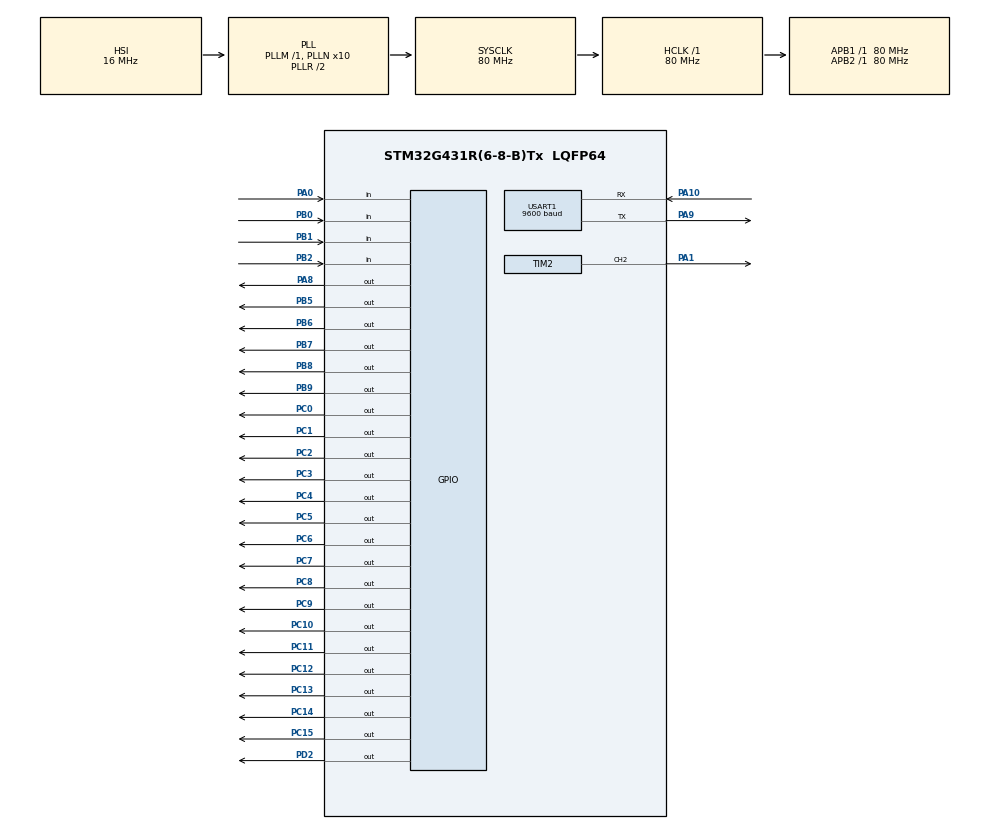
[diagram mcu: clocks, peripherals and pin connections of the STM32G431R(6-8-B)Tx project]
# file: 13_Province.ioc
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Mcu.Family=STM32G4
Mcu.Name=STM32G431R(6-8-B)Tx
Mcu.Package=LQFP64
NVIC.PriorityGroup=NVIC_PRIORITYGROUP_4
NVIC.TIM1_UP_TIM16_IRQn=true\:0\:0\:false\:false\:true\:true\:true\:true
NVIC.USART1_IRQn=true\:0\:0\:false\:false\:true\:true\:true\:true
PA0.Signal=GPIO_Input
PA1.Signal=S_TIM2_CH2
PA10.Mode=Asynchronous
PA10.Signal=USART1_RX
PA13.Mode=Serial_Wire
PA13.Signal=SYS_JTMS-SWDIO
PA14.Mode=Serial_Wire
PA14.Signal=SYS_JTCK-SWCLK
PA8.Signal=GPIO_Output
PA9.Mode=Asynchronous
PA9.Signal=USART1_TX
PB0.Signal=GPIO_Input
PB1.Signal=GPIO_Input
PB2.Signal=GPIO_Input
PB5.Signal=GPIO_Output
PB6.Signal=GPIO_Output
PB7.Signal=GPIO_Output
PB8-BOOT0.Signal=GPIO_Output
PB9.Signal=GPIO_Output
PC0.Signal=GPIO_Output
PC1.Signal=GPIO_Output
PC10.Signal=GPIO_Output
PC11.Signal=GPIO_Output
PC12.Signal=GPIO_Output
PC13.Signal=GPIO_Output
PC14-OSC32_IN.Signal=GPIO_Output
PC15-OSC32_OUT.Signal=GPIO_Output
PC2.Signal=GPIO_Output
PC3.Signal=GPIO_Output
PC4.Signal=GPIO_Output
PC5.Signal=GPIO_Output
PC6.Signal=GPIO_Output
PC7.Signal=GPIO_Output
PC8.Signal=GPIO_Output
PC9.Signal=GPIO_Output
PD2.Signal=GPIO_Output
PF0-OSC_IN.Mode=HSE-External-Oscillator
PF0-OSC_IN.Signal=RCC_OSC_IN
PF1-OSC_OUT.Mode=HSE-External-Oscillator
PF1-OSC_OUT.Signal=RCC_OSC_OUT
ProjectManager.HeapSize=0x200
ProjectManager.StackSize=0x400
ProjectManager.TargetToolchain=MDK-ARM V5.32
RCC.ADC12Freq_Value=80000000
RCC.AHBFreq_Value=80000000
RCC.APB1Freq_Value=80000000
RCC.APB1TimFreq_Value=80000000
RCC.APB2Freq_Value=80000000
RCC.APB2TimFreq_Value=80000000
RCC.CortexFreq_Value=80000000
RCC.EXTERNAL_CLOCK_VALUE=12288000
RCC.HCLKFreq_Value=80000000
RCC.HSE_VALUE=8000000
RCC.HSI48_VALUE=48000000
RCC.HSI_VALUE=16000000
RCC.LSE_VALUE=32768
RCC.PLLN=10
RCC.SYSCLKFreq_VALUE=80000000
RCC.SYSCLKSource=RCC_SYSCLKSOURCE_PLLCLK
RCC.USBFreq_Value=80000000
RCC.VCOOutputFreq_Value=160000000
SH.S_TIM2_CH2.0=TIM2_CH2,PWM Generation2 CH2
TIM1.PeriodNoDither=10000-1
TIM1.Prescaler=80-1
TIM2.Channel-PWM\ Generation2\ CH2=TIM_CHANNEL_2
TIM2.PeriodNoDither=100-1
TIM2.Prescaler=400-1
TIM2.PulseNoDither_2=5
USART1.BaudRate=9600
USART1.VirtualMode-Asynchronous=VM_ASYNC
VP_SYS_VS_DBSignals.Mode=DisableDeadBatterySignals
VP_TIM1_VS_ClockSourceINT.Mode=Internal
VP_TIM2_VS_ClockSourceINT.Mode=Internal
board=custom

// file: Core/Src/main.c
/* USER CODE BEGIN Header */
/**
  ******************************************************************************
  * @file           : main.c
  * @brief          : Main program body
  ******************************************************************************
  * @attention
  *
  * Copyright (c) 2024 STMicroelectronics.
  * All rights reserved.
  *
  * This software is licensed under terms that can be found in the LICENSE file
  * in the root directory of this software component.
  * If no LICENSE file comes with this software, it is provided AS-IS.
  *
  ******************************************************************************
  */
/* USER CODE END Header */
#include "main.h"
#include "tim.h"
#include "usart.h"
#include "gpio.h"

/* USER CODE BEGIN Includes */
#include "stdio.h"
#include "string.h"
#include "stdlib.h"
#include "lcd.h"
#include "interrupt.h"
#include "MY_IIC.h"
#include "i2c_hal.h"
/* USER CODE END Includes */

/* USER CODE BEGIN PTD */
extern unsigned char  rx[10];
extern unsigned char RX_Buff;
extern int idx;
extern struct Some_State LED;
extern struct Some_State LED1;
/* USER CODE END PTD */

void SystemClock_Config(void);

/* USER CODE BEGIN 0 */
int Sreen=0;
int Store_num[2]={0,0};
float Store_Price[2]={1.0,1.0};
int Store_all[2]={10,10};
unsigned char Buy[20];
void Key()
{
	if(get_key_stat(0))
	{
		Sreen++;
		Sreen%=3;
	}
	if(Sreen==0)
	{
		if(get_key_stat(1))
		{
			Store_num[0]++;
			if(Store_num[0]>=Store_all[0])
			{
				Store_num[0]=Store_all[0];
			}
		}
		else if(get_key_stat(2))
		{
			Store_num[1]++;
			if(Store_num[1]>=Store_all[1])
			{
				Store_num[1]=Store_all[1];
			}
		}
		else if(get_key_stat(3))
		{
			LED.tim=0;
			LED.sta=1;
			float all_money=Store_num[0]*Store_Price[0]+\
							Store_num[0]*Store_Price[0];
			sprintf((char *)Buy,"X:%d,Y:%d,Z:%.1f",Store_num[0],\
					Store_num[1],all_money);
			HAL_UART_Transmit(&huart1,Buy,strlen(Buy),0xffff);
			Store_all[0]-=Store_num[0];
			Store_all[1]-=Store_num[1];
			x24c02_write(0,Store_all[0]);HAL_Delay(5);
			x24c02_write(1,Store_all[1]);HAL_Delay(5);
			Store_num[0]=Store_num[1]=0;
		}
	}
	else if(Sreen == 1)
	{
		if(get_key_stat(1))
		{
			if(Store_Price[0]>=1.95)
			{
				Store_Price[0]=1.0;
			}
			else
			{
				Store_Price[0]+=0.1;
			}
			x24c02_write(3,(int)(Store_Price[1]*10));
		}
		else if(get_key_stat(2))
		{
			if(Store_Price[1]>=1.95)
			{
				Store_Price[1]=1.0;
			}
			else
			{
				Store_Price[1]+=0.1;
			}
			x24c02_write(3,(int)(Store_Price[1]*10));
		}
	}
	else if(Sreen == 2)
	{
		if(get_key_stat(1))
		{
			Store_all[0]++;
			x24c02_write(0,Store_all[0]);
		}
		else if(get_key_stat(2))
		{
			Store_all[1]++;
			x24c02_write(1,Store_all[1]);
		}
	}
	set_key_stat(0,0);
	set_key_stat(1,0);
	set_key_stat(2,0);
	set_key_stat(3,0);
}
void Usb()
{
	if(idx!=0)
	{
		if(idx==1 && rx[0]=='?')
		{
			sprintf((char *)Buy,"X:%.1f,Y:%.1f",Store_Price[0],Store_Price[1]);
			HAL_UART_Transmit(&huart1,Buy,strlen(Buy),0xffff);
		}
		idx=0;
		memset(rx,0,strlen(rx));
	}
}
void LED_6()
{
	int led=0x00;
	if(LED.sta)
	{
		led|=0x01;
		LED_Disp(led);
		__HAL_TIM_SetCompare(&htim2,TIM_CHANNEL_2,30);
	}
	else if(LED.sta_re)
	{
		led=0x00;
		LED_Disp(led);
		LED.sta_re=0;
		__HAL_TIM_SetCompare(&htim2,TIM_CHANNEL_2,5);
	}

	if(Store_all[0]==0 && Store_all[1]==0)
	{
		LED1.sta=1;
	}
	else
	{
		LED1.tim=0;
		LED1.sta_re=0;
		LED1.sta=0;
		LED_Disp(0x00);
	}
	if(LED1.sta_re)
	{
		led|=0x02;
		LED_Disp(led);
	}
	else
	{
		led|=0x00;
		LED_Disp(led);
	}
}
void Shop()
{
	unsigned char str[20];
	LCD_DisplayStringLine(Line1,(u8 *)"        SHOP   ");
	sprintf((char *)str,"     X:%d   ",Store_num[0]);
	LCD_DisplayStringLine(Line3,str);
	sprintf((char *)str,"     Y:%d   ",Store_num[1]);
	LCD_DisplayStringLine(Line4,str);
}
void Price()
{
	unsigned char str[20];
	LCD_DisplayStringLine(Line1,(u8 *)"        PRICE  ");
	sprintf((char *)str,"     X:%.1f   ",Store_Price[0]);
	LCD_DisplayStringLine(Line3,str);
	sprintf((char *)str,"     Y:%.1f   ",Store_Price[1]);
	LCD_DisplayStringLine(Line4,str);
}
void Rep()
{
	unsigned char str[20];
	LCD_DisplayStringLine(Line1,(u8 *)"        REP   ");
	sprintf((char *)str,"     X:%d     ",Store_all[0]);
	LCD_DisplayStringLine(Line3,str);
	sprintf((char *)str,"     Y:%d     ",Store_all[1]);
	LCD_DisplayStringLine(Line4,str);
}
/* USER CODE END 0 */

int main(void)
{
  /* USER CODE BEGIN 1 */
	int val=0;
  /* USER CODE END 1 */

  /* MCU Configuration--------------------------------------------------------*/

  /* Reset of all peripherals, Initializes the Flash interface and the Systick. */
  HAL_Init();

  /* Configure the system clock */
  SystemClock_Config();

  /* Initialize all configured peripherals */
  MX_GPIO_Init();
  MX_TIM1_Init();
  MX_TIM2_Init();
  MX_USART1_UART_Init();
  /* USER CODE BEGIN 2 */
	I2CInit();
	LCD_Init();
	LCD_Clear(Black);
	LCD_SetTextColor(White);
	LCD_SetBackColor(Black);
	HAL_TIM_Base_Start_IT(&htim1);
	HAL_TIM_PWM_Start(&htim2,TIM_CHANNEL_2);
	HAL_UART_Receive_IT(&huart1,&RX_Buff,1);
	LED_Disp(0x00);
	val=x24c02_read(5);HAL_Delay(5);
	x24c02_write(5,++val);HAL_Delay(5);
	if(val==1)
	{
		x24c02_write(0,Store_all[0]);HAL_Delay(5);
		x24c02_write(1,Store_all[1]);HAL_Delay(5);
		x24c02_write(2,(int)(Store_Price[0]*10));HAL_Delay(5);
		x24c02_write(3,(int)(Store_Price[1]*10));HAL_Delay(5);
	}
	Store_all[0]=x24c02_read(0);HAL_Delay(5);
	Store_all[1]=x24c02_read(1);HAL_Delay(5);
	Store_Price[0]=x24c02_read(2)/10;HAL_Delay(5);
	Store_Price[1]=x24c02_read(3)/10;HAL_Delay(5);
  /* USER CODE END 2 */

  /* Infinite loop */
  while (1)
  {

    /* USER CODE BEGIN 3 */
	  LED_6();
	  Usb();
	  Key();
	  switch(Sreen)
	  {
		  case 0:
			  Shop();break;
		  case 1:
			  Price();break;
		  case 2:
			  Rep();break;
	  }

  }
  /* USER CODE END 3 */
}

void SystemClock_Config(void)
{
  RCC_OscInitTypeDef RCC_OscInitStruct = {0};
  RCC_ClkInitTypeDef RCC_ClkInitStruct = {0};

  /** Configure the main internal regulator output voltage
  */
  HAL_PWREx_ControlVoltageScaling(PWR_REGULATOR_VOLTAGE_SCALE1);

  /** Initializes the RCC Oscillators according to the specified parameters
  * in the RCC_OscInitTypeDef structure.
  */
  RCC_OscInitStruct.OscillatorType = RCC_OSCILLATORTYPE_HSI;
  RCC_OscInitStruct.HSIState = RCC_HSI_ON;
  RCC_OscInitStruct.HSICalibrationValue = RCC_HSICALIBRATION_DEFAULT;
  RCC_OscInitStruct.PLL.PLLState = RCC_PLL_ON;
  RCC_OscInitStruct.PLL.PLLSource = RCC_PLLSOURCE_HSI;
  RCC_OscInitStruct.PLL.PLLM = RCC_PLLM_DIV1;
  RCC_OscInitStruct.PLL.PLLN = 10;
  RCC_OscInitStruct.PLL.PLLP = RCC_PLLP_DIV2;
  RCC_OscInitStruct.PLL.PLLQ = RCC_PLLQ_DIV2;
  RCC_OscInitStruct.PLL.PLLR = RCC_PLLR_DIV2;
  if (HAL_RCC_OscConfig(&RCC_OscInitStruct) != HAL_OK)
  {
    Error_Handler();
  }

  /** Initializes the CPU, AHB and APB buses clocks
  */
  RCC_ClkInitStruct.ClockType = RCC_CLOCKTYPE_HCLK|RCC_CLOCKTYPE_SYSCLK
                              |RCC_CLOCKTYPE_PCLK1|RCC_CLOCKTYPE_PCLK2;
  RCC_ClkInitStruct.SYSCLKSource = RCC_SYSCLKSOURCE_PLLCLK;
  RCC_ClkInitStruct.AHBCLKDivider = RCC_SYSCLK_DIV1;
  RCC_ClkInitStruct.APB1CLKDivider = RCC_HCLK_DIV1;
  RCC_ClkInitStruct.APB2CLKDivider = RCC_HCLK_DIV1;

  if (HAL_RCC_ClockConfig(&RCC_ClkInitStruct, FLASH_LATENCY_2) != HAL_OK)
  {
    Error_Handler();
  }
}

void Error_Handler(void)
{
  __disable_irq();
  while (1)
  {
  }
}
